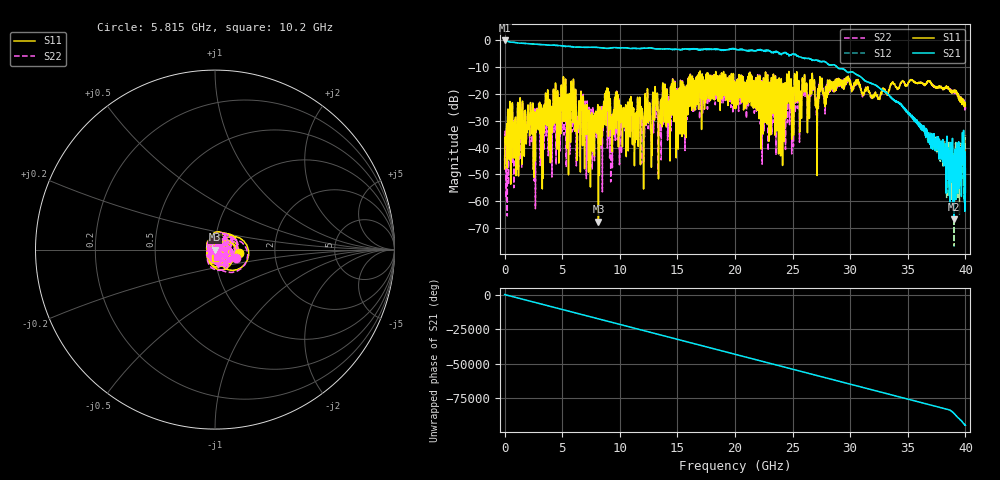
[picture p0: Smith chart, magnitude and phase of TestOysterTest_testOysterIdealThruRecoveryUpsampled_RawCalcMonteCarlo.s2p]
# MHz MA S R 50.0
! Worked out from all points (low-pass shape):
!   8000 points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, 5 MHz to 40 GHz, reference 50 ohm
!   highest |S21| = 0.01 dB at 5 MHz (marker M1); lowest = -66.7 dB at 38.99 GHz (marker M2)
!   |S21| within 3 dB of the highest: start of sweep to 10.95 GHz; 11.79 GHz to 12.96 GHz (1.168 GHz wide, 9.44 % of centre) (the widest 2 of 5)
!   lowest |S11| = -67.7 dB at 8.145 GHz (marker M3), VSWR 1.00, Z = 50 - j0.0271 ohm
!   |S11| at or under -10 dB: start of sweep to end of sweep
!   |S22| runs from -65.5 to -11.6 dB; largest |S21 - S12| = 0.023
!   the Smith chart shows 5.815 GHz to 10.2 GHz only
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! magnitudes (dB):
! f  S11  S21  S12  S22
! 5 MHz  -48.0  0.0  0.0  -44.8
! 490 MHz  -22.9  -0.6  -0.6  -22.9
! 3.99 GHz  -39.2  -1.7  -1.7  -30.1
! 5.115 GHz  -13.6  -2.2  -2.2  -13.9
! 5.545 GHz  -45.9  -2.2  -2.2  -32.5
! 5.965 GHz  -15.0  -2.5  -2.5  -15.0
! 6.675 GHz  -22.9  -2.5  -2.5  -24.6
! 8.145 GHz  -67.7  -2.6  -2.6  -40.7
! 8.885 GHz  -17.7  -3.0  -3.0  -17.9
! 9.315 GHz  -35.4  -2.7  -2.7  -33.7
! 9.74 GHz  -19.4  -2.7  -2.7  -19.1
! 13.34 GHz  -31.6  -3.1  -3.1  -50.0
! 16.12 GHz  -12.7  -3.4  -3.4  -12.6
! 20 GHz  -17.6  -3.2  -3.2  -18.4
! 24.25 GHz  -32.1  -4.5  -4.5  -25.2
! 26.67 GHz  -15.7  -7.2  -7.2  -15.7
! 27.13 GHz  -37.3  -7.4  -7.4  -34.2
! 29.74 GHz  -13.6  -11.8  -11.8  -13.8
! 33.34 GHz  -18.6  -20.4  -20.2  -19.1
! 38.99 GHz  -19.2  -66.7  -52.7  -18.7
! 39.71 GHz  -23.9  -41.9  -44.2  -22.2
! 40 GHz  -24.1  -56.5  -35.7  -24.8
